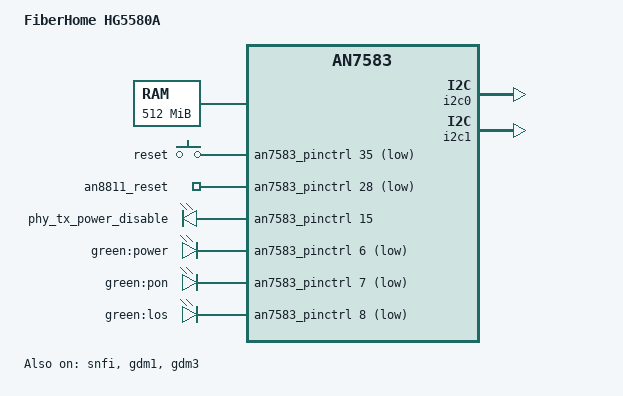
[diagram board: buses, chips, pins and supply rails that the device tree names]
// SPDX-License-Identifier: (GPL-2.0-only OR BSD-2-Clause)
/*
 * FiberHome HG5580A - Airoha AN7583 ONU
 *
 * Hardware confirmed on real hardware (U-Boot banner + /api/device):
 *   SoC        Airoha AN7583 (2x Cortex-A53)
 *   DRAM       512 MiB @ 0x80000000
 *   NAND       SkyHigh S35ML02G300 (ML02G300WH100), 256 MiB
 *              block 128 KiB, page 2048, OOB 128
 *   Serial     UART1 at 0x1fbf0000, 115200 8N1
 *   PHY        Motorcomm YT8821 2.5G on gdm3 (OUI 0x13D47A, MDIO 0x07)
 *   Switch     MediaTek MT7530 on gdm1
 *   Optical    Airoha UX3363 paged BOSA, I2C 0x51
 *
 * Partition layout
 * ----------------
 * The flash keeps the stock FiberHome layout.  Only the "apps" partition is
 * handed to UBI, so the vendor bootloader, the A/B system slots and -- most
 * importantly -- the "factory" partition (MAC addresses, PON serial, optical
 * calibration) are never touched by a U-Boot reflash.
 *
 *   0x00000000  0x00280000  bootloader      vendor BL2 + FIP
 *   0x00280000  0x00080000  bootflag        vendor A/B selector
 *   0x00300000  0x00600000  KernelA
 *   0x00900000  0x02800000  RootfsA
 *   0x03100000  0x00600000  KernelB
 *   0x03700000  0x02800000  RootfsB
 *   0x05f00000  0x06800000  apps        -> UBI (104 MiB)
 *   0x0c700000  0x01000000  frameworka
 *   0x0d700000  0x01000000  frameworkb
 *   0x0e700000  0x00500000  factory     -> never written
 *
 * UBI volumes live inside "apps": fip, fit, rootfs_data, bosa, ri.
 */
/dts-v1/;

#include <dt-bindings/leds/common.h>
#include <dt-bindings/gpio/gpio.h>
#include <dt-bindings/input/input.h>
#include "an7583.dtsi"

/ {
	model = "FiberHome HG5580A";
	compatible = "fiberhome,hg5580a-ubi", "airoha,an7583";

	chosen {
		bootargs = "console=ttyS0,115200 earlycon";
		stdout-path = "serial0:115200n8";
		/*
		 * The first 2 MiB at 0x80000000 are reserved for the secure
		 * firmware (atf@ node in an7583.dtsi); hand the rest to Linux.
		 */
		linux,usable-memory-range = <0x0 0x80200000 0x0 0x1fe00000>;
	};

	memory@80000000 {
		device_type = "memory";
		reg = <0x0 0x80000000 0x0 0x20000000>;
	};

	keys {
		compatible = "gpio-keys";

		button-reset {
			label = "reset";
			linux,code = <KEY_RESTART>;
			gpios = <&an7583_pinctrl 35 GPIO_ACTIVE_LOW>;
			debounce-interval = <60>;
		};
	};

	leds {
		compatible = "gpio-leds";

		/*
		 * Not indicators: these two hold the YT8821 2.5G PHY out of
		 * reset / powered.  Names come from the vendor device tree
		 * (it still says "an8811") and the inverted polarity is
		 * deliberate -- see the long comment in the Linux DTS.
		 */
		phy_reset {
			label = "an8811_reset";
			gpios = <&an7583_pinctrl 28 GPIO_ACTIVE_LOW>;
			default-state = "off";
		};

		phy_tx_power_disable {
			label = "phy_tx_power_disable";
			gpios = <&an7583_pinctrl 15 GPIO_ACTIVE_HIGH>;
			default-state = "on";
		};

		/* Front-panel LEDs.  green:power is the activity LED. */
		led_status {
			label = "green:power";
			gpios = <&an7583_pinctrl 6 GPIO_ACTIVE_LOW>;
			default-state = "off";
		};

		led_pon {
			label = "green:pon";
			gpios = <&an7583_pinctrl 7 GPIO_ACTIVE_LOW>;
			default-state = "off";
		};

		led_los {
			label = "green:los";
			gpios = <&an7583_pinctrl 8 GPIO_ACTIVE_LOW>;
			default-state = "off";
		};
	};
};

/*
 * SPI-NAND.  The layout mirrors the stock one so nothing outside "apps" is
 * ever written; U-Boot only ever formats the "apps" partition as UBI.
 */
&snfi {
	status = "okay";
};

&spi_nand {
	partitions {
		compatible = "fixed-partitions";
		#address-cells = <1>;
		#size-cells = <1>;

		partition@0 {
			label = "bootloader";
			reg = <0x0 0x280000>;
			read-only;
		};

		partition@280000 {
			label = "bootflag";
			reg = <0x280000 0x80000>;
			read-only;
		};

		partition@300000 {
			label = "KernelA";
			reg = <0x300000 0x600000>;
			read-only;
		};

		partition@900000 {
			label = "RootfsA";
			reg = <0x900000 0x2800000>;
			read-only;
		};

		partition@3100000 {
			label = "KernelB";
			reg = <0x3100000 0x600000>;
		};

		partition@3700000 {
			label = "RootfsB";
			reg = <0x3700000 0x2800000>;
		};

		/* The only partition U-Boot formats and manages. */
		/*
		 * The one partition U-Boot formats and manages (104 MiB).
		 *
		 * The label MUST be "ubi": U-Boot finds the UBI container by name
		 * via get_mtd_device_nm(), and three places hardcode that name:
		 *
		 *   env/Kconfig:704          CONFIG_ENV_UBI_PART default "ubi"
		 *   include/env/.../an758x-ubi.env   ubi_mount=ubi part ubi
		 *   net/lwip/httpd.c:45      #define HTTPD_UBI_PART "ubi"
		 *
		 * Naming it "apps" (the vendor's label, which is what /proc/mtd
		 * shows on the stock firmware) makes all three fail with
		 * "Partition ubi not found!", which is the bug currently present
		 * on the hg5380a target.
		 */
		partition@5f00000 {
			label = "ubi";
			reg = <0x5f00000 0x6800000>;
		};

		partition@c700000 {
			label = "frameworka";
			reg = <0xc700000 0x1000000>;
			read-only;
		};

		partition@d700000 {
			label = "frameworkb";
			reg = <0xd700000 0x1000000>;
			read-only;
		};

		/* MAC / PON serial / optical calibration.  Never written. */
		partition@e700000 {
			label = "factory";
			reg = <0xe700000 0x500000>;
			read-only;
		};
	};
};

/* UX3363 paged BOSA and the factory EEPROM sit on i2c0. */
&i2c0 {
	status = "okay";
};

&i2c1 {
	status = "okay";
};

/*
 * gdm1 is the MT7530 switch CPU port (lan2..lan4); gdm3 is the YT8821 2.5G
 * port on lan1.  Both are needed by the U-Boot network stack, which the Web
 * recovery and TFTP paths use.
 */
&gdm1 {
	status = "okay";
};

&gdm3 {
	status = "okay";
};
